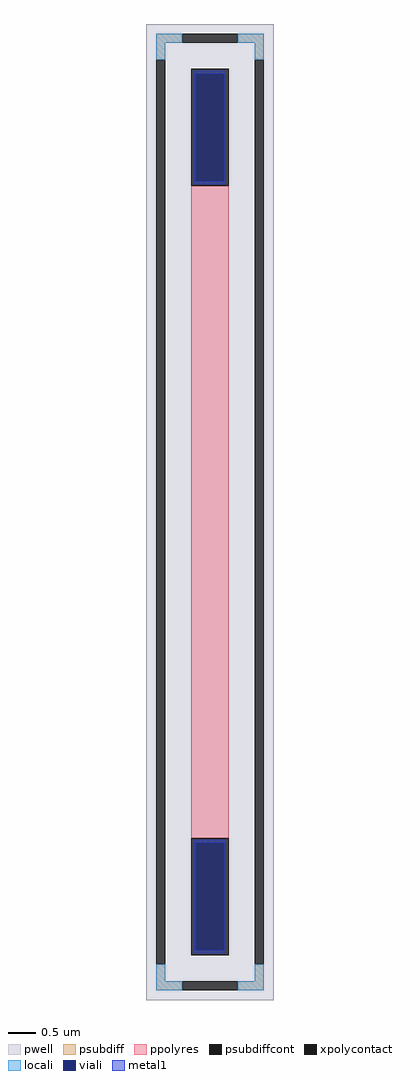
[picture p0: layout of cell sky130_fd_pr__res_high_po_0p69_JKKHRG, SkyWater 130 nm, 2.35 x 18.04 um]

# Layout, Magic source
magic
tech sky130A
magscale 1 2
<< pwell >>
rect -235 -1804 235 1804
<< psubdiff >>
rect -199 1734 -103 1768
rect 103 1734 199 1768
rect -199 1672 -165 1734
rect 165 1672 199 1734
rect -199 -1734 -165 -1672
rect 165 -1734 199 -1672
rect -199 -1768 -103 -1734
rect 103 -1768 199 -1734
<< psubdiffcont >>
rect -103 1734 103 1768
rect -199 -1672 -165 1672
rect 165 -1672 199 1672
rect -103 -1768 103 -1734
<< xpolycontact >>
rect -69 1206 69 1638
rect -69 -1638 69 -1206
<< ppolyres >>
rect -69 -1206 69 1206
<< locali >>
rect -199 1734 -103 1768
rect 103 1734 199 1768
rect -199 1672 -165 1734
rect 165 1672 199 1734
rect -199 -1734 -165 -1672
rect 165 -1734 199 -1672
rect -199 -1768 -103 -1734
rect 103 -1768 199 -1734
<< viali >>
rect -53 1223 53 1620
rect -53 -1620 53 -1223
<< metal1 >>
rect -59 1620 59 1632
rect -59 1223 -53 1620
rect 53 1223 59 1620
rect -59 1211 59 1223
rect -59 -1223 59 -1211
rect -59 -1620 -53 -1223
rect 53 -1620 59 -1223
rect -59 -1632 59 -1620
<< properties >>
string FIXED_BBOX -182 -1751 182 1751
string gencell sky130_fd_pr__res_high_po_0p69
string library sky130
string parameters w 0.690 l 12.22 m 1 nx 1 wmin 0.690 lmin 0.50 rho 319.8 val 6.228k dummy 0 dw 0.0 term 194.82 sterm 0.0 caplen 0 guard 1 glc 1 grc 1 gtc 1 gbc 1 compatible {sky130_fd_pr__res_high_po_0p35  sky130_fd_pr__res_high_po_0p69 sky130_fd_pr__res_high_po_1p41  sky130_fd_pr__res_high_po_2p85 sky130_fd_pr__res_high_po_5p73} snake 0 full_metal 1 wmax 0.690 n_guard 0 hv_guard 0 vias 1 viagb 0 viagt 0 viagl 0 viagr 0
<< end >>
